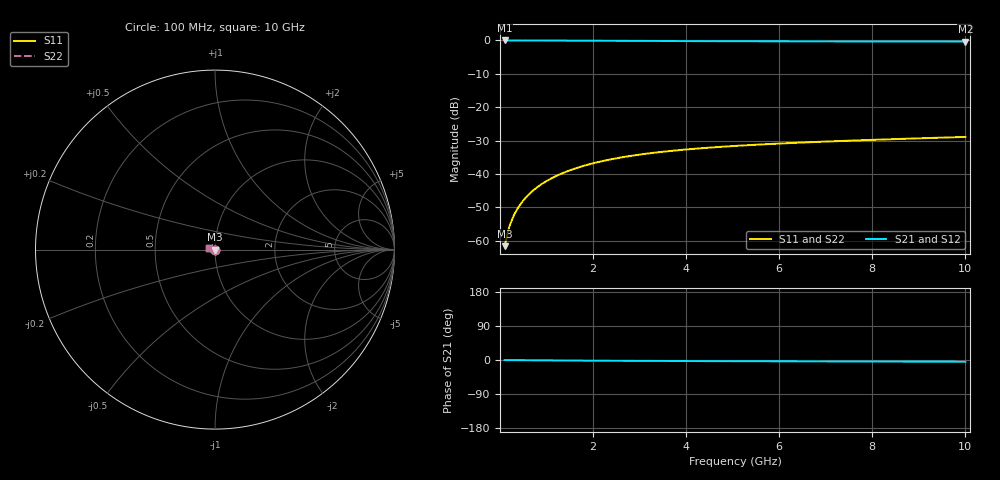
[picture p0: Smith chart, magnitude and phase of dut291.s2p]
! Touchstone file exported from HFSS 2024.1.0
!  File:  C:/UserFiles/LocalFiles/RDL_TSV_Batchsim/temp_TSV1_291_1779394326.aedt
!  Generated:  04:17:55 AM May 22, 2026
!  Design:  TSV1
!  Project:  temp_TSV1_291_1779394326
!  Setup:  Setup1
!  Solution:  Sweep
! Variables:
!  dtsv = 7.57um
!  hbump = 3um
!  htsv = 70.47um
!  lrdl = 252.1521522um
!  p = 40
!  p1 = 47.01um
!  t = 500um
!  trdl = 3um
!  wrdl = 24.89489489um
# GHz S MA R 50.000000
! Terminal data exported
! Port[1] = TSV22_T1
! Port[2] = TSV22_T2
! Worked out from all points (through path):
!   100 points, 100 MHz to 10 GHz, reference 50 ohm
!   highest |S21| = 0.00 dB at 100 MHz (marker M1); lowest = -0.3 dB at 10 GHz (marker M2)
!   lowest |S11| = -61.7 dB at 100 MHz (marker M3), VSWR 1.00, Z = 50 - j0.08 ohm
!   |S11| at or under -10 dB: start of sweep to end of sweep
!   |S22| runs from -61.7 to -28.9 dB; largest |S21 - S12| = 4.4e-15
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0.1  0.0008266 -75.5  0.9997 -0.1  0.9997 -0.1  0.0008266 -75.5
! Gamma 0 0 0 0
! Port Impedance 50 0 50 0
0.2  0.001619 -85.3  0.9996 -0.2  0.9996 -0.2  0.001619 -85.3
0.3  0.002415 -90.0  0.9995 -0.3  0.9995 -0.3  0.002415 -90.0
0.4  0.003209 -93.3  0.9993 -0.4  0.9993 -0.4  0.003209 -93.3
0.5  0.003998 -96.0  0.9991 -0.5  0.9991 -0.5  0.003998 -96.0
0.6  0.004779 -98.4  0.9988 -0.6  0.9988 -0.6  0.004779 -98.4
0.7  0.005553 -100.7  0.9984 -0.7  0.9984 -0.7  0.005553 -100.7
0.8  0.006316 -102.8  0.9981 -0.8  0.9981 -0.8  0.006316 -102.8
0.9  0.007069 -104.9  0.9976 -0.9  0.9976 -0.9  0.007069 -104.9
1.1  0.008538 -108.8  0.9967 -1.0  0.9967 -1.0  0.008538 -108.8
1.4  0.01064 -114.3  0.995 -1.3  0.995 -1.3  0.01064 -114.3
1.6  0.01196 -117.9  0.9938 -1.4  0.9938 -1.4  0.01196 -117.9
1.8  0.01322 -121.2  0.9925 -1.6  0.9925 -1.6  0.01322 -121.2
2.1  0.01499 -126.1  0.9905 -1.8  0.9905 -1.8  0.01499 -126.1
2.5  0.01713 -132.2  0.9878 -2.0  0.9878 -2.0  0.01713 -132.2
2.9  0.01903 -137.8  0.9852 -2.3  0.9852 -2.3  0.01903 -137.8
3.4  0.0211 -144.2  0.9821 -2.5  0.9821 -2.5  0.0211 -144.2
4.2  0.02387 -153.3  0.9777 -2.8  0.9777 -2.8  0.02387 -153.3
5.1  0.02639 -162.2  0.9737 -3.1  0.9737 -3.1  0.02639 -162.2
6.7  0.02994 -175.1  0.9685 -3.6  0.9685 -3.6  0.02994 -175.1
8.4  0.03309 173.8  0.9649 -4.2  0.9649 -4.2  0.03309 173.8
10  0.03583 165.2  0.9625 -4.6  0.9625 -4.6  0.03583 165.2
